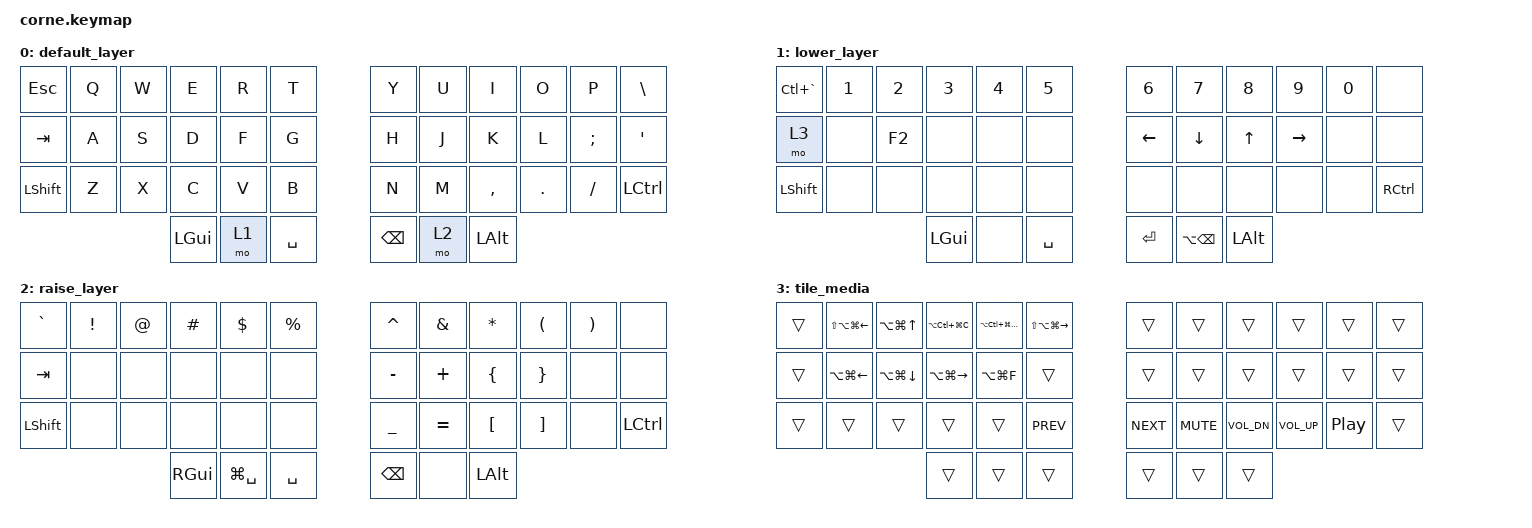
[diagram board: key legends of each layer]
/*
 * Copyright (c) 2020 The ZMK Contributors
 *
 * SPDX-License-Identifier: MIT
 */

#include <behaviors.dtsi>
#include <dt-bindings/zmk/keys.h>

/ {
    combos { compatible = "zmk,combos"; };

    keymap {
        compatible = "zmk,keymap";

        default_layer {
            bindings = <
&kp ESCAPE  &kp Q  &kp W  &kp E     &kp R  &kp T        &kp Y          &kp U  &kp I         &kp O    &kp P     &kp BACKSLASH
&kp TAB     &kp A  &kp S  &kp D     &kp F  &kp G        &kp H          &kp J  &kp K         &kp L    &kp SEMI  &kp SQT
&kp LSHIFT  &kp Z  &kp X  &kp C     &kp V  &kp B        &kp N          &kp M  &kp COMMA     &kp DOT  &kp FSLH  &kp LEFT_CONTROL
                          &kp LGUI  &mo 1  &kp SPACE    &kp BACKSPACE  &mo 2  &kp LEFT_ALT
            >;
        };

        lower_layer {
            bindings = <
&kp LC(GRAVE)   &kp NUMBER_1  &kp NUMBER_2  &kp NUMBER_3  &kp NUMBER_4  &kp NUMBER_5    &kp NUMBER_6  &kp NUMBER_7       &kp NUMBER_8  &kp NUMBER_9     &kp NUMBER_0  &none
&mo 3           &none         &kp F2        &none         &none         &none           &kp LEFT      &kp DOWN_ARROW     &kp UP_ARROW  &kp RIGHT_ARROW  &none         &none
&kp LEFT_SHIFT  &none         &none         &none         &none         &none           &none         &none              &none         &none            &none         &kp RCTRL
                                            &kp LGUI      &none         &kp SPACE       &kp ENTER     &kp LA(BACKSPACE)  &kp LALT
            >;
        };

        raise_layer {
            bindings = <
&kp GRAVE  &kp EXCLAMATION  &kp AT  &kp HASH       &kp DOLLAR     &kp PERCENT    &kp CARET       &kp AMPERSAND  &kp ASTERISK      &kp LEFT_PARENTHESIS  &kp RIGHT_PARENTHESIS  &none
&kp TAB    &none            &none   &none          &none          &none          &kp MINUS       &kp PLUS       &kp LEFT_BRACE    &kp RIGHT_BRACE       &none                  &none
&kp LSHFT  &none            &none   &none          &none          &none          &kp UNDERSCORE  &kp EQUAL      &kp LEFT_BRACKET  &kp RIGHT_BRACKET     &none                  &kp LEFT_CONTROL
                                    &kp RIGHT_GUI  &kp LG(SPACE)  &kp SPACE      &kp BACKSPACE   &none          &kp LALT
            >;
        };

        tile_media {
            bindings = <
&trans  &kp LS(LA(LG(LEFT)))    &kp LA(LG(UP_ARROW))  &kp LA(LC(LG(C)))        &kp LA(LC(LG(LS(RIGHT))))  &kp LS(LA(LG(RIGHT)))    &trans      &trans      &trans        &trans        &trans            &trans
&trans  &kp LA(LG(LEFT_ARROW))  &kp LA(LG(DOWN))      &kp LA(LG(RIGHT_ARROW))  &kp LA(LG(F))              &trans                   &trans      &trans      &trans        &trans        &trans            &trans
&trans  &trans                  &trans                &trans                   &trans                     &kp C_PREV               &kp C_NEXT  &kp C_MUTE  &kp K_VOL_DN  &kp K_VOL_UP  &kp C_PLAY_PAUSE  &trans
                                                      &trans                   &trans                     &trans                   &trans      &trans      &trans
            >;
        };
    };

    conditional_layers { compatible = "zmk,conditional-layers"; };
};

// LEDs are per half for split keyboards

&led_strip { chain-length = <27>; };

&led_strip { chain-length = <27>; };
